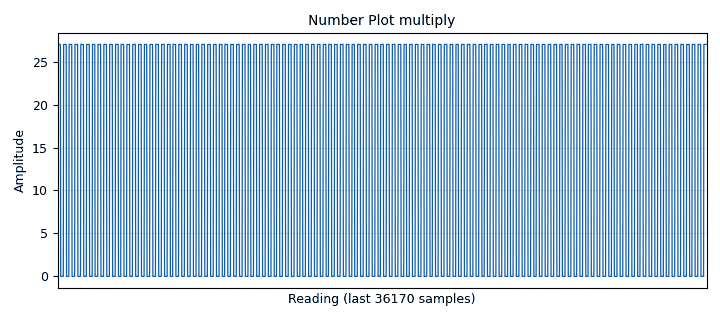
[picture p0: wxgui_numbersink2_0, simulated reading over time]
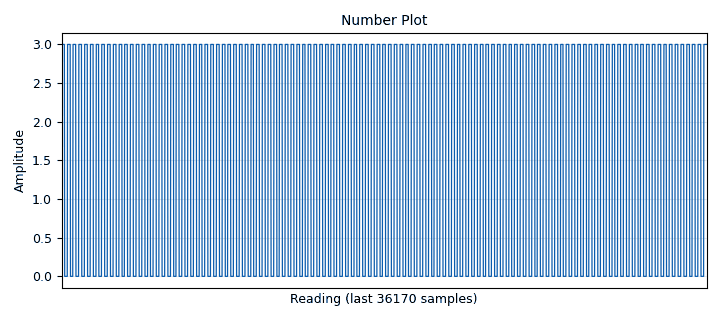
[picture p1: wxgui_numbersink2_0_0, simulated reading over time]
<?xml version='1.0' encoding='utf-8'?>
<?grc format='1' created='3.7.10'?>
<flow_graph>
<block>
<key>options</key>
<param><key>id</key><value>top_block</value></param>
<param><key>category</key><value>Custom</value></param>
<param><key>generate_options</key><value>wx_gui</value></param>
</block>
<block>
<key>variable</key>
<param><key>id</key><value>N</value></param>
<param><key>value</key><value>1024</value></param>
</block>
<block>
<key>variable</key>
<param><key>id</key><value>a</value></param>
<param><key>value</key><value>np.zeros(shape=(N,N),dtype=complex)</value></param>
</block>
<block>
<key>variable</key>
<param><key>id</key><value>delay</value></param>
<param><key>value</key><value>np.array([1, 2, 3])</value></param>
</block>
<block>
<key>variable</key>
<param><key>id</key><value>samp_rate</value></param>
<param><key>value</key><value>32000</value></param>
</block>
<block>
<key>epy_module</key>
<param><key>id</key><value>IDFT</value></param>
<param><key>source_code</key><value># this module will be imported in the into your flowgraph

import numpy as np

a = 0
A = 0
def idft_mat(N):
    global a,A
    a=np.zeros(shape=(N,N),dtype=complex)
    for i in range(0,N-1):
        for j in range(0,N-1):
            a[i,j]=((2j*22*i*j)/(N*7))
    A=np.exp(a)
    return A        
        
</value></param>
</block>
<block>
<key>analog_sig_source_x</key>
<param><key>id</key><value>analog_sig_source_x_0</value></param>
<param><key>amp</key><value>3</value></param>
<param><key>freq</key><value>100</value></param>
<param><key>offset</key><value>0</value></param>
<param><key>type</key><value>float</value></param>
<param><key>samp_rate</key><value>samp_rate</value></param>
<param><key>waveform</key><value>analog.GR_SQR_WAVE</value></param>
</block>
<block>
<key>blocks_delay</key>
<param><key>id</key><value>blocks_delay_0</value></param>
<param><key>delay</key><value>power.double(6)</value></param>
<param><key>_enabled</key><value>0</value></param>
<param><key>type</key><value>float</value></param>
</block>
<block>
<key>blocks_multiply_const_vxx</key>
<param><key>id</key><value>blocks_multiply_const_vxx_0</value></param>
<param><key>const</key><value>power.double(6)</value></param>
<param><key>type</key><value>float</value></param>
</block>
<block>
<key>blocks_throttle</key>
<param><key>id</key><value>blocks_throttle_0</value></param>
<param><key>samples_per_second</key><value>samp_rate</value></param>
<param><key>type</key><value>float</value></param>
</block>
<block>
<key>import</key>
<param><key>id</key><value>import_0</value></param>
<param><key>import</key><value>import numpy as np</value></param>
</block>
<block>
<key>epy_module</key>
<param><key>id</key><value>power</value></param>
<param><key>source_code</key><value># this module will be imported in the into your flowgraph

i= 0

def double(arg):
   global i;
   i=i+1;
   return 9
</value></param>
</block>
<block>
<key>wxgui_numbersink2</key>
<param><key>id</key><value>wxgui_numbersink2_0</value></param>
<param><key>avg_alpha</key><value>0</value></param>
<param><key>average</key><value>False</value></param>
<param><key>decimal_places</key><value>10</value></param>
<param><key>factor</key><value>1.0</value></param>
<param><key>max_value</key><value>100</value></param>
<param><key>min_value</key><value>-100</value></param>
<param><key>number_rate</key><value>15</value></param>
<param><key>peak_hold</key><value>False</value></param>
<param><key>ref_level</key><value>0</value></param>
<param><key>samp_rate</key><value>samp_rate</value></param>
<param><key>show_gauge</key><value>True</value></param>
<param><key>title</key><value>Number Plot multiply</value></param>
<param><key>type</key><value>float</value></param>
<param><key>units</key><value>Units</value></param>
</block>
<block>
<key>wxgui_numbersink2</key>
<param><key>id</key><value>wxgui_numbersink2_0_0</value></param>
<param><key>avg_alpha</key><value>0</value></param>
<param><key>average</key><value>False</value></param>
<param><key>decimal_places</key><value>10</value></param>
<param><key>factor</key><value>1.0</value></param>
<param><key>max_value</key><value>100</value></param>
<param><key>min_value</key><value>-100</value></param>
<param><key>number_rate</key><value>15</value></param>
<param><key>peak_hold</key><value>False</value></param>
<param><key>ref_level</key><value>0</value></param>
<param><key>samp_rate</key><value>samp_rate</value></param>
<param><key>show_gauge</key><value>True</value></param>
<param><key>title</key><value>Number Plot</value></param>
<param><key>type</key><value>float</value></param>
<param><key>units</key><value>Units</value></param>
</block>
<connection><source_block_id>analog_sig_source_x_0</source_block_id><sink_block_id>blocks_delay_0</sink_block_id><source_key>0</source_key><sink_key>0</sink_key></connection>
<connection><source_block_id>analog_sig_source_x_0</source_block_id><sink_block_id>blocks_throttle_0</sink_block_id><source_key>0</source_key><sink_key>0</sink_key></connection>
<connection><source_block_id>analog_sig_source_x_0</source_block_id><sink_block_id>wxgui_numbersink2_0_0</sink_block_id><source_key>0</source_key><sink_key>0</sink_key></connection>
<connection><source_block_id>blocks_multiply_const_vxx_0</source_block_id><sink_block_id>wxgui_numbersink2_0</sink_block_id><source_key>0</source_key><sink_key>0</sink_key></connection>
<connection><source_block_id>blocks_throttle_0</source_block_id><sink_block_id>blocks_multiply_const_vxx_0</sink_block_id><source_key>0</source_key><sink_key>0</sink_key></connection>
</flow_graph>
